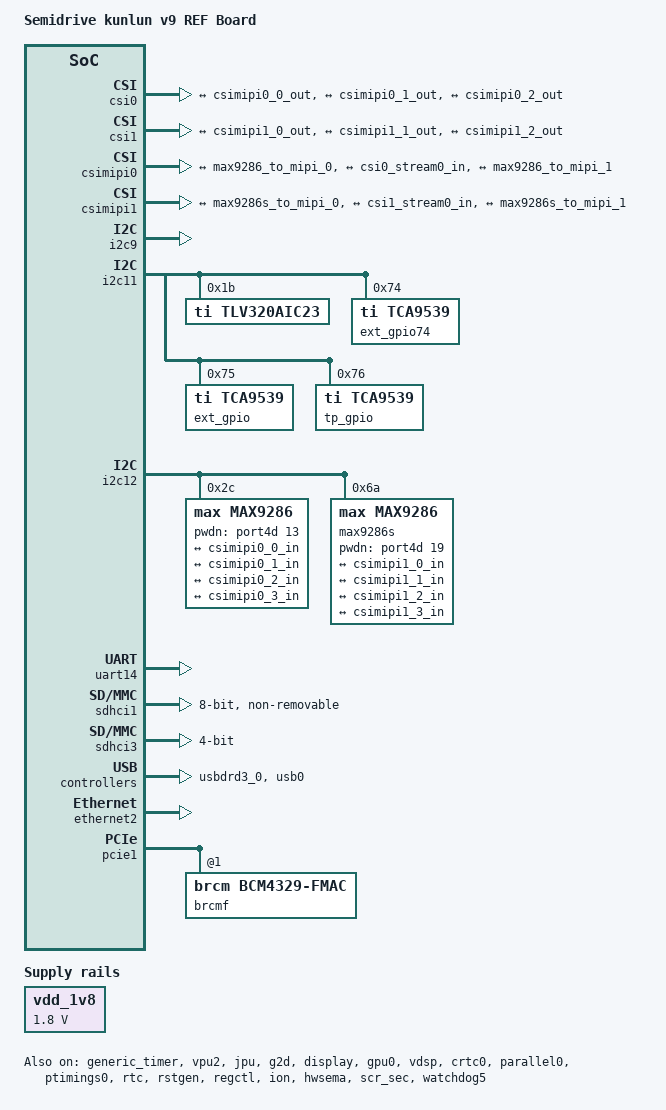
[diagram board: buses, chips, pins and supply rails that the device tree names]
/*
 * Semidrive kunlun platform DTS file
 *
 * Copyright (C) 2019, Semidrive  Communications Inc.
 *
 * This file is licensed under a dual GPLv2 or X11 license.
 */

/dts-v1/;
#include "v9t_ap.dtsi"
#include "v9ts_ref_a-clk-ctrl.dtsi"
#include "lcd-timings.dtsi"
#include <dt-bindings/pinctrl/pins-sdx9.h>
#include <dt-bindings/memmap/v9ts/projects/default/side_a/image_cfg.h>
#include <dt-bindings/memory/sdrv_ion.h>
#include <dt-bindings/rpmsg/sd,x9h-default.h>

/ {
	model = "Semidrive kunlun v9 REF Board";

	compatible = "semidrive,kunlun";

	aliases {
		serial0 = &uart14;
		ethernet2 = &ethernet2;
	};

	memory@50000000 {
		device_type = "memory";
		reg = <HIGH32(AP1_KERNEL_MEMBASE-0x80000) LOW32(AP1_KERNEL_MEMBASE-0x80000) HIGH32(AP1_KERNEL_MEMSIZE) LOW32(AP1_KERNEL_MEMSIZE) \
		       0x0 (VDSP_SHARE_MEMBASE+0x4000) 0x0 (VDSP_SHARE_MEMSIZE-0x4000)>;
	};

	reserved-memory {
		#address-cells = <2>;
		#size-cells = <2>;
		ranges;

		/* Default Common CMA Pool */
		/* QUIRK: Must be kept in the lower 4096 MiBs of DRAM banks for VE */
		linux,cma {
			compatible = "shared-dma-pool";
			reusable;
			size = <0x0 0x40000000>; /* 1024MB */
			/* 4GB maximum in case of 32-bit only capable devices */
			alloc-ranges = <0x0 0x0 0x0 0xffffffff>;
			linux,cma-default;
		};

		xrp_reserved: xrp@0 {
			compatible = "shared-dma-pool";
			status = "okay";
			no-map;
			reg = <0x0 VDSP_SHARE_MEMBASE 0x0 0x4000>;
		};

		xrp_shared: xrp,shmem {
			reg = <0x0 (VDSP_SHARE_MEMBASE+0x4000) 0x0 (VDSP_SHARE_MEMSIZE-0x4000)>;
		};

	};

	chosen {
		bootargs = "skip_initramfs noinitrd root=/dev/mmcblk0p7 rootfstype=ext4 rootwait rw init=/sbin/init highres=1 earlycon loglevel=11 console=ttyS0,115200n8 fbcon=map:1";
		stdout-path = "serial0";
	};

	vdd_1v8: fixed-vdd_1v8 {
		compatible = "regulator-fixed";
		regulator-name = "vdd_1v8";
		regulator-min-microvolt = <1800000>;
		regulator-max-microvolt = <1800000>;
	};
};

&dmac2 {
	status = "okay";
};
&dmac3 {
	status = "okay";
};
&dmac4 {
	status = "okay";
};

&dmac5 {
	status = "okay";
};
&dmac6 {
	status = "okay";
};

&dmac7 {
	status = "okay";
};

&csi0 {
	mbus-type = "mipi-csi2";
	pclk-sample = <1>;
	status = "okay";

	ports {
		csi0_stream0: port@0 {
			csi0_stream0_in: endpoint@0 {
				remote-endpoint = <&csimipi0_0_out>;
			};
		};
		csi0_stream1: port@1 {
			csi0_stream1_in: endpoint@0 {
				remote-endpoint = <&csimipi0_1_out>;
			};
		};
		csi0_stream2: port@2 {
			csi0_stream2_in: endpoint@0 {
				remote-endpoint = <&csimipi0_2_out>;
			};
		};
		csi0_stream3: port@3 {
			csi0_stream3_in: endpoint@0 {
				remote-endpoint = <&csimipi0_3_out>;
			};
		};
	};
};

&csi1 {
	mbus-type = "mipi-csi2";
	pclk-sample = <1>;
	status = "okay";

	ports {
		csi1_stream0: port@0 {
			csi1_stream0_in: endpoint@0 {
				remote-endpoint = <&csimipi1_0_out>;
			};
		};
		csi1_stream1: port@1 {
			csi1_stream1_in: endpoint@0 {
				remote-endpoint = <&csimipi1_1_out>;
			};
		};
		csi1_stream2: port@2 {
			csi1_stream2_in: endpoint@0 {
				remote-endpoint = <&csimipi1_2_out>;
			};
		};
		csi1_stream3: port@3 {
			csi1_stream3_in: endpoint@0 {
				remote-endpoint = <&csimipi1_3_out>;
			};
		};
	};
};
&csi2 {
	status = "disabled";
};
&csimipi0 {
	status = "okay";
	lanerate = <72000000>;
	hsa = <10>;
	hbp = <20>;
	hsd = <0x60>;
	output-type = <0x1e>;

	ports {
		#address-cells = <1>;
		#size-cells = <0>;

		port@0 {
			#address-cells = <1>;
			#size-cells = <0>;
			reg = <0>;
			csimipi0_0_in: endpoint@0 {
				remote-endpoint = <&max9286_to_mipi_0>;
				reg = <0>;
			};
			csimipi0_0_out: endpoint@1 {
				remote-endpoint = <&csi0_stream0_in>;
				reg = <0>;
			};
		};
		port@1 {
			#address-cells = <1>;
			#size-cells = <0>;
			reg = <1>;
			csimipi0_1_in: endpoint@0 {
				remote-endpoint = <&max9286_to_mipi_1>;
				reg = <1>;
			};
			csimipi0_1_out: endpoint@1 {
				remote-endpoint = <&csi0_stream1_in>;
				reg = <1>;
			};
		};
		port@2 {
			#address-cells = <1>;
			#size-cells = <0>;
			reg = <2>;
			csimipi0_2_in: endpoint@0 {
				remote-endpoint = <&max9286_to_mipi_2>;
				reg = <2>;
			};
			csimipi0_2_out: endpoint@1 {
				remote-endpoint = <&csi0_stream2_in>;
				reg = <2>;
			};
		};
		port@3 {
			#address-cells = <1>;
			#size-cells = <0>;
			reg = <3>;
			csimipi0_3_in: endpoint@0 {
				remote-endpoint = <&max9286_to_mipi_3>;
				reg = <3>;
			};
			csimipi0_3_out: endpoint@1 {
				remote-endpoint = <&csi0_stream3_in>;
				reg = <3>;
			};
		};
	};
};
&csimipi1 {
	status = "okay";
	lanerate = <72000000>;
	hsa = <10>;
	hbp = <20>;
	hsd = <0x60>;
	output-type = <0x1e>;

	ports {
		#address-cells = <1>;
		#size-cells = <0>;

		port@0 {
			#address-cells = <1>;
			#size-cells = <0>;
			reg = <0>;
			csimipi1_0_in: endpoint@0 {
				remote-endpoint = <&max9286s_to_mipi_0>;
				reg = <0>;
			};
			csimipi1_0_out: endpoint@1 {
				remote-endpoint = <&csi1_stream0_in>;
				reg = <0>;
			};
		};
		port@1 {
			#address-cells = <1>;
			#size-cells = <0>;
			reg = <1>;
			csimipi1_1_in: endpoint@0 {
				remote-endpoint = <&max9286s_to_mipi_1>;
				reg = <1>;
			};
			csimipi1_1_out: endpoint@1 {
				remote-endpoint = <&csi1_stream1_in>;
				reg = <1>;
			};
		};
		port@2 {
			#address-cells = <1>;
			#size-cells = <0>;
			reg = <2>;
			csimipi1_2_in: endpoint@0 {
				remote-endpoint = <&max9286s_to_mipi_2>;
				reg = <2>;
			};
			csimipi1_2_out: endpoint@1 {
				remote-endpoint = <&csi1_stream2_in>;
				reg = <2>;
			};
		};
		port@3 {
			#address-cells = <1>;
			#size-cells = <0>;
			reg = <3>;
			csimipi1_3_in: endpoint@0 {
				remote-endpoint = <&max9286s_to_mipi_3>;
				reg = <3>;
			};
			csimipi1_3_out: endpoint@1 {
				remote-endpoint = <&csi1_stream3_in>;
				reg = <3>;
			};
		};
	};
};
&csiparallel0 {
	status = "disabled";
};

&i2c5 {
        status = "disabled";
};

&i2c6 {
        status = "disabled";
};

&i2c7 {
        status = "disabled";
};

&i2c8 {
	status = "disabled";
};

&i2c9 {
	status = "okay";
};

&i2c10 {
	status = "disabled";
};

&i2c11 {
	status = "okay";

	tlv320aic23: codec@1b {
	compatible = "ti,tlv320aic23";
		reg = <0x1b>;
	};

	ext_gpio74: gpio@74 {
		compatible = "ti,tca9539";
		reg = <0x74>;
		#gpio-cells = <2>;
		gpio-controller;
	};
	ext_gpio: gpio@75 {
		compatible = "ti,tca9539";
		reg = <0x75>;
		#gpio-cells = <2>;
		gpio-controller;
	};
	tp_gpio: gpio@76 {
		compatible = "ti,tca9539";
		reg = <0x76>;
		#gpio-cells = <2>;
		gpio-controller;
	};
};

&i2c12 {
	status = "okay";

	max9286:max9286@2c {
		compatible = "max,max9286";
		reg = <0x2c>;
		pwdn-gpios = <&port4d 13 0>;
		addr_20086 = /bits/ 16 <0x2a>;
		addr_96705 = /bits/ 16 <0x40>;
		addr_0101 = /bits/ 16 <0x5d>;
		semidrive,poc = <&i2c9>;
		ports {
			port@0 {
				#address-cells = <1>;
				#size-cells = <0>;

				max9286_to_mipi_0: endpoint {
					remote-endpoint = <&csimipi0_0_in>;
				};
			};
			port@1 {
				#address-cells = <1>;
				#size-cells = <0>;

				max9286_to_mipi_1: endpoint {
					remote-endpoint = <&csimipi0_1_in>;
				};
			};
			port@2 {
				#address-cells = <1>;
				#size-cells = <0>;

				max9286_to_mipi_2: endpoint {
					remote-endpoint = <&csimipi0_2_in>;
				};
			};
			port@3 {
				#address-cells = <1>;
				#size-cells = <0>;

				max9286_to_mipi_3: endpoint {
					remote-endpoint = <&csimipi0_3_in>;
				};
			};
		};
	};

	max9286s:max9286@6a {
		compatible = "max,max9286";
		reg = <0x6a>;
		pwdn-gpios = <&port4d 19 0>;
		addr_20086 = /bits/ 16 <0x2b>;
		addr_96705 = /bits/ 16 <0x40>;
		addr_0101 = /bits/ 16 <0x5d>;
		semidrive,poc = <&i2c9>;
		sec_9286 = <1>;

		ports {
			port@0 {
				#address-cells = <1>;
				#size-cells = <0>;

				max9286s_to_mipi_0: endpoint {
					remote-endpoint = <&csimipi1_0_in>;
				};
			};
			port@1 {
				#address-cells = <1>;
				#size-cells = <0>;

				max9286s_to_mipi_1: endpoint {
					remote-endpoint = <&csimipi1_1_in>;
				};
			};
			port@2 {
				#address-cells = <1>;
				#size-cells = <0>;

				max9286s_to_mipi_2: endpoint {
					remote-endpoint = <&csimipi1_2_in>;
				};
			};
			port@3 {
				#address-cells = <1>;
				#size-cells = <0>;

				max9286s_to_mipi_3: endpoint {
					remote-endpoint = <&csimipi1_3_in>;
				};
			};
		};
	};
};


&i2c13 {
	status = "disabled";
};

&i2c14 {
	status = "disabled";
};

&i2c15 {
	status = "disabled";
};

&uart14 {
	dmas = <&dmac4 X9_DMA_SLV_ID_UART15_TX>, <&dmac4 X9_DMA_SLV_ID_UART15_RX>;
	dma-names = "tx", "rx";
	status = "okay";
};

&generic_timer {
	status = "okay";
};

&adc_ap {
	resolution_value = <0x03>; /*ADC_6_BITS_E0 = 0x00 , ADC_8_BITS_E1 = 0x01 , ADC_10_BITS_E2 = 0x02 , ADC_12_BITS_E3 = 0x03*/
	clksrc_sel = <0x00>; /*ADC_SRC_CLK_ALT_E0 = 0x00 , ADC_SRC_CLK_PCLK_E1 = 0x01 , ADC_SRC_CLK_EXT_E2 = 0x02*/
	clk_value = <24000000>;
	use-adc-fifo;
	vref-supply = <&vdd_1v8>;
	status = "disabled";
};

&vpu2 {
	resets = <&rstgen RSTGEN_MODULE_VPU2>;
	reset-names = "vpu-reset";
	status = "okay";
};

&jpu {
	resets = <&rstgen RSTGEN_MODULE_MJPEG>;
	reset-names = "jpu-reset";
	status = "okay";
};

&g2d {
	status = "okay";
};

&display {
	sdriv,crtc = <&crtc0>;
	status = "okay";
};

&gpu0 {
	status = "okay";
};

&vdsp {
	reg = <0x0 VDSP_SHARE_MEMBASE 0x0 0x1000>, /* DSP command queue */
	      <0x0 (VDSP_SHARE_MEMBASE+0x4000) 0x0 (VDSP_SHARE_MEMSIZE-0x4000)>, /* DSP shared memory */
	      <0x0 0x34040000 0x0 0x1000>, /* vdsp mu base address, pass to vdsp, won't map */
	      <0x0 0x38316000 0x0 0x1000>, /* scr 0x458 */
	      <0x0 0x3839e000 0x0 0x1000>, /* scr 0x678 */
	      <0x0 0x38401000 0x0 0x2000>, /* rstgen core 0 */
	      <0x0 0x38466000 0x0 0x1000>; /* rstgen module 38 */
	firmware-name = "xtensa.elf";
	firmware-entry = <VDSP_MEMBASE>;
	/*data ram0, data ram1, system ram, shared ram*/
	ranges = <0x0 0x00a00000 0x0 0x00a00000 0x0 0x00020000
		  0x0 0x00a20000 0x0 0x00a20000 0x0 0x00020000
                  0x0 LOW32(AP1_KERNEL_MEMBASE-0x80000) 0x0 LOW32(AP1_KERNEL_MEMBASE-0x80000) 0x0 LOW32(0x100000000-AP1_KERNEL_MEMBASE+0x80000)
		  0x0 VDSP_MEMBASE 0x0 VDSP_MEMBASE 0x0 VDSP_MEMSIZE
		  0x0 VDSP_SHARE_MEMBASE 0x0 VDSP_SHARE_MEMBASE 0x0 VDSP_SHARE_MEMSIZE>;
	status = "okay";
};

&crtc0 {
	status = "okay";
};

&parallel0 {
	status = "okay";
};

&dtimings0 {
	native-mode = <&hsd_fhd1920x720>;
};

&ptimings0 {
	status = "okay";
};

&pinctrl {
	reg = <0x0 0x37000000 0x0 0x10000>;
	pinctrl-names = "default";

	sdx9-evk {
		pinctrl_mshc1: mshc1grp {
		kunlun,pins = <
			X9_PINCTRL_EMMC1_CLK__MSHC1_CLK_1 		X9_PINCTRL_OPEN_DRAIN_DISABLE
			X9_PINCTRL_EMMC1_CMD__MSHC1_CMD_1		X9_PINCTRL_OPEN_DRAIN_DISABLE
			X9_PINCTRL_EMMC1_DATA0__MSHC1_DATA_0_1	X9_PINCTRL_OPEN_DRAIN_DISABLE
			X9_PINCTRL_EMMC1_DATA1__MSHC1_DATA_1_1	X9_PINCTRL_OPEN_DRAIN_DISABLE
			X9_PINCTRL_EMMC1_DATA2__MSHC1_DATA_2_1	X9_PINCTRL_OPEN_DRAIN_DISABLE
			X9_PINCTRL_EMMC1_DATA3__MSHC1_DATA_3_1	X9_PINCTRL_OPEN_DRAIN_DISABLE
			X9_PINCTRL_EMMC1_DATA4__MSHC1_DATA_4_1	X9_PINCTRL_OPEN_DRAIN_DISABLE
			X9_PINCTRL_EMMC1_DATA5__MSHC1_DATA_5_1	X9_PINCTRL_OPEN_DRAIN_DISABLE
			X9_PINCTRL_EMMC1_DATA6__MSHC1_DATA_6_1	X9_PINCTRL_OPEN_DRAIN_DISABLE
			X9_PINCTRL_EMMC1_DATA7__MSHC1_DATA_7_1	X9_PINCTRL_OPEN_DRAIN_DISABLE
			X9_PINCTRL_EMMC1_STROBE__MSHC1_STB_1		X9_PINCTRL_OPEN_DRAIN_ENABLE
			X9_PINCTRL_EMMC1_RESET_N__MSHC1_RST_N_1	X9_PINCTRL_OPEN_DRAIN_DISABLE
			>;
		};

		pinctrl_gpiotouch_lvds: touchgrp_lvds {
                        kunlun,pins = <
			X9_PINCTRL_I2S_MC_SD4__GPIO_MUX2_IO80_1          0x00
			X9_PINCTRL_I2S_MC_SD5__GPIO_MUX2_IO81_1          0x00
                        X9_PINCTRL_I2S_MC_SD6__GPIO_MUX2_IO82_1          0x00
                        X9_PINCTRL_I2S_MC_SD7__GPIO_MUX2_IO83_1          0x00
                        >;
                };
		pinctrl_gpiotouch_mipi: touchgrp_mipi {
                        kunlun,pins = <
			X9_PINCTRL_EMMC2_CLK__GPIO_MUX2_IO96_1          0x00
			X9_PINCTRL_EMMC2_CMD__GPIO_MUX2_IO97_1          0x00
                        >;
                };
	};
};

&gpio4 {
	//pinctrl-names = "default";
	//pinctrl-0 = <&pinctrl_gpiotouch_lvds &pinctrl_gpiotouch_mipi>;
	status = "okay";
};
&sdhci1 {
	bus-width = <8>;
	non-removable;
	no-sdio;
	no-sd;
	card-is-emmc;
	disable-wp;
	cap-mmc-highspeed;
	keep-power-in-suspend;
	mmc-ddr-1_8v;
	mmc-hs200-1_8v;
	mmc-hs400-1_8v;
	mmc-hs400-enhanced-strobe;
	status = "okay";
};

&sdhci3 {
	#clock-cells = <1>;
	clocks = <&EMMC3>;
	clock-names = "core";
	max-frequency = <25000000>;
	bus-width = <4>;
	no-1-8-v;
	no-mmc;
	no-sdio;
	disable-wp;
	keep-power-in-suspend;
	status = "okay";
};

&mbox {
	status = "okay";
};

&mbox_test {
	status = "okay";
};


&ipcc0 {
	status = "okay";
};

&ipcc1 {
	status = "okay";
};

&rtc {
	status = "okay";
};

&usbdrd3_0 {
	status = "okay";
};

&usb0 {
	status = "okay";
};

&ethernet2 {
	status = "okay";
};

&rstgen {
	reg = <0x0 0x38467000 0x0 0x1000>,	/* vpu1 */
		<0x0 0x38468000 0x0 0x1000>,	/* vpu2 */
		<0x0 0x38469000 0x0 0x1000>,	/* mjpeg */
		<0x0 0x38490000 0x0 0x1000>,	/* gpu1 core */
		<0x0 0x38491000 0x0 0x1000>,	/* gpu1 ss */
		<0x0 0x38461000 0x0 0x1000>,	/* GIC4 */
		<0x0 0x38455000 0x0 0x1000>,	/* cpu1 core0 warm */
		<0x0 0x38456000 0x0 0x1000>,	/* cpu1 core1 warm */
		<0x0 0x38457000 0x0 0x1000>,	/* cpu1 core2 warm */
		<0x0 0x38458000 0x0 0x1000>,	/* cpu1 core3 warm */
		<0x0 0x3845b000 0x0 0x1000>,	/* cpu1 scu warm */
		<0x0 0x3846d000 0x0 0x1000>,	/* cpu1 ss */
		<0x0 0x38407000 0x0 0x2000>;	/* cpu1 all core */
	rstgen_resource = <
		RSTGEN_MODULE_VPU1
		RSTGEN_MODULE_VPU2
		RSTGEN_MODULE_MJPEG
		RSTGEN_MODULE_GPU1_CORE
		RSTGEN_MODULE_GPU1_SS
		RSTGEN_MODULE_GIC4
		RSTGEN_MODULE_CPU1_CORE0_WARM
		RSTGEN_MODULE_CPU1_CORE1_WARM
		RSTGEN_MODULE_CPU1_CORE2_WARM
		RSTGEN_MODULE_CPU1_CORE3_WARM
		RSTGEN_MODULE_CPU1_SCU_WARM
		RSTGEN_MODULE_CPU1_SS
		RSTGEN_CORE_CPU1_ALL
		>;
	status = "okay";
};

&regctl {
	reg = <0x0 0x38415000 0x0 0x1000>,
		<0x0 0x38418000 0x0 0x1000>,
		<0x0 0x38419000 0x0 0x1000>,
		<0x0 0x3841a000 0x0 0x1000>;
	reg-names = "SDRV_REG_REMAP",
			"SDRV_REG_BOOTREASON",
			"SDRV_REG_HWID",
			"SDRV_REG_STATUS";
	status = "okay";
};

&ion {
	status = "okay";
};

&hwsema {
        status = "okay";
};

&scr_sec {
        status = "okay";
};

&watchdog5 {
	wdt,auto-run = "false";
	status = "okay";
};

&pcie1 {
	status = "okay";
	brcmf: bcrmf@1 {
		reg = <1>;
		compatible = "brcm,bcm4329-fmac";
	};
};
